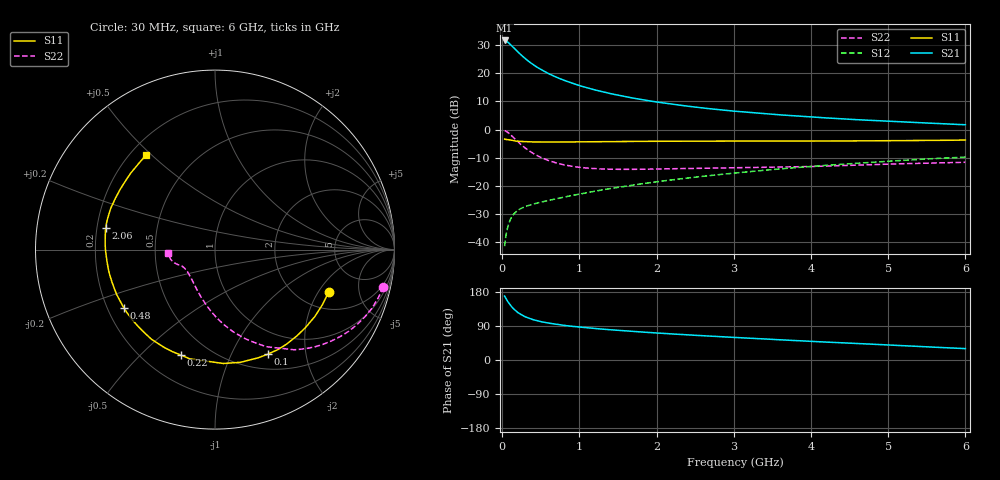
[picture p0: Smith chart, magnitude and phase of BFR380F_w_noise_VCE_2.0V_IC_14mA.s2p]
! Infineon Technologies  Discrete & RF Semiconductors
! BFR380F
! VCE =  2.0 V,  IC =  14 mA
! Common Emitter S-Parameters:  Nov 2015
# GHz  S  MA  R  50
!  f  S11  S21  S12  S22
! GHz  MAG  ANG  MAG  ANG  MAG  ANG  MAG  ANG
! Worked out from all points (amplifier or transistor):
!   206 points, 30 MHz to 6 GHz, reference 50 ohm
!   highest |S21| = 31.7 dB at 30 MHz (marker M1)
!   |S21| within 3 dB of that: start of sweep to 163 MHz
!   unconditionally stable (mu >= 1): 1.528 GHz to 5.228 GHz
!   at 200 MHz: K = 0.30, MSG = 28.1 dB, |S12| = -28.7 dB
!   at 1.56 GHz: K = 1.00, MAG = 15.7 dB, |S12| = -20.3 dB
!   at 6 GHz: K = 0.99, MSG = 5.7 dB, |S12| = -9.8 dB
!   lowest NFmin = 0.94 dB at 900 MHz
!   S11 on the Smith chart (normalised r, x): 30 MHz: 2.85, -2.48; 100 MHz: 0.69, -1.39; 220 MHz: 0.35, -0.67; 480 MHz: 0.27, -0.28; 2.06 GHz: 0.24, +0.09; 6 GHz: 0.26, +0.48
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0.03  0.6759 -20.5  38.25 168.6  0.0085 81.7  0.9608 -12.5
0.05  0.6696 -33.9  37.36 161.0  0.0138 75.3  0.9336 -20.5
0.07  0.6629 -46.5  35.75 154.5  0.0184 70.6  0.8939 -28.0
0.1  0.6525 -63.2  32.95 145.8  0.0245 64.1  0.8256 -38.0
0.12  0.6445 -73.0  30.98 140.8  0.0277 60.6  0.7783 -44.0
0.15  0.6363 -85.8  28.23 134.1  0.0318 56.4  0.7102 -51.8
0.2  0.6244 -102.9  24.03 125.3  0.0368 51.2  0.6097 -62.4
0.22  0.6178 -107.8  22.68 123.0  0.0382 50.0  0.5763 -65.5
0.26  0.6143 -117.3  20.18 118.0  0.0408 48.0  0.5167 -72.1
0.32  0.6087 -128.5  17.19 112.3  0.044 46.5  0.4461 -80.0
0.4  0.6048 -139.3  14.22 106.4  0.0475 45.9  0.3778 -88.9
0.48  0.6022 -147.1  12.12 102.2  0.0506 46.4  0.3302 -95.9
0.6  0.6025 -155.7  9.845 97.3  0.0552 47.9  0.2817 -105.1
0.7  0.6017 -161.0  8.511 94.1  0.0591 49.4  0.2552 -111.4
1.04  0.6053 -173.0  5.823 86.1  0.0734 54.4  0.2109 -127.7
1.4  0.6113 178.8  4.352 79.8  0.0896 58.0  0.1979 -139.1
2.02  0.6201 169.1  3.063 71.1  0.1193 61.2  0.1992 -148.9
2.06  0.6204 168.6  3.01 70.6  0.1212 61.3  0.1996 -149.3
3.1  0.6241 157.0  2.073 58.6  0.1737 62.0  0.2106 -155.4
4.1  0.6261 146.5  1.641 48.2  0.2265 59.8  0.2228 -157.8
5.1  0.6348 136.7  1.386 38.7  0.2791 56.4  0.2459 -164.4
6  0.6518 126.3  1.217 30.0  0.3249 51.9  0.2626 -175.5
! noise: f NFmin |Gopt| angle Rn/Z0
0.45  0.96  0.12  161  0.08
0.9  0.94  0.2  154  0.08
1.8  1.18  0.33  176  0.07
1.9  1.26  0.34  176  0.07
2.4  1.38  0.37  -171  0.08
3.5  1.98  0.48  -157  0.11
